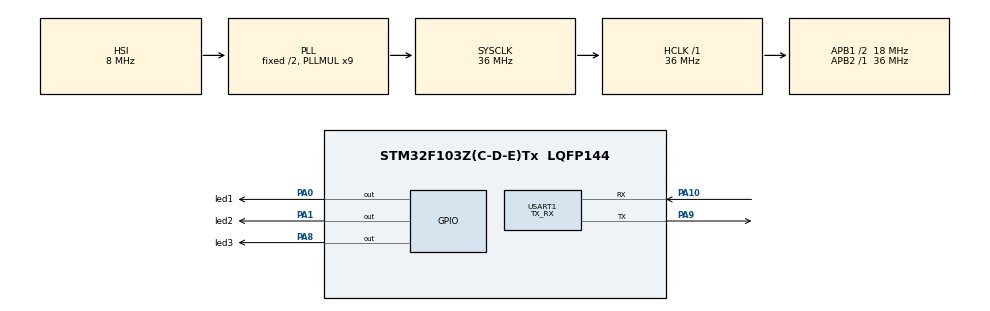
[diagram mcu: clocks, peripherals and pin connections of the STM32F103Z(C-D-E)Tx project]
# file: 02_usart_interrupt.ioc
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Mcu.Family=STM32F1
Mcu.Name=STM32F103Z(C-D-E)Tx
Mcu.Package=LQFP144
NVIC.PriorityGroup=NVIC_PRIORITYGROUP_4
NVIC.USART1_IRQn=true\:0\:0\:false\:false\:true\:true\:true\:true
OSC_IN.Mode=HSE-External-Oscillator
OSC_IN.Signal=RCC_OSC_IN
OSC_OUT.Mode=HSE-External-Oscillator
OSC_OUT.Signal=RCC_OSC_OUT
PA0-WKUP.GPIO_Label=led1
PA0-WKUP.GPIO_ModeDefaultOutputPP=GPIO_MODE_OUTPUT_OD
PA0-WKUP.GPIO_PuPd=GPIO_NOPULL
PA0-WKUP.Signal=GPIO_Output
PA1.GPIO_Label=led2
PA1.GPIO_ModeDefaultOutputPP=GPIO_MODE_OUTPUT_OD
PA1.GPIO_PuPd=GPIO_NOPULL
PA1.Signal=GPIO_Output
PA10.Mode=Asynchronous
PA10.Signal=USART1_RX
PA13.Mode=Trace_Synchro_1bit_JTAG
PA13.Signal=SYS_JTMS-SWDIO
PA14.Mode=Trace_Synchro_1bit_JTAG
PA14.Signal=SYS_JTCK-SWCLK
PA15.Mode=Trace_Synchro_1bit_JTAG
PA15.Signal=SYS_JTDI
PA8.GPIO_Label=led3
PA8.GPIO_ModeDefaultOutputPP=GPIO_MODE_OUTPUT_OD
PA8.GPIO_PuPd=GPIO_NOPULL
PA8.Signal=GPIO_Output
PA9.Mode=Asynchronous
PA9.Signal=USART1_TX
PB3.Mode=Trace_Synchro_1bit_JTAG
PB3.Signal=SYS_JTDO-TRACESWO
PC14-OSC32_IN.Mode=LSE-External-Oscillator
PC14-OSC32_IN.Signal=RCC_OSC32_IN
PC15-OSC32_OUT.Mode=LSE-External-Oscillator
PC15-OSC32_OUT.Signal=RCC_OSC32_OUT
PE2.Mode=Trace_Synchro_1bit_JTAG
PE2.Signal=SYS_TRACECLK
PE3.Mode=Trace_Synchro_1bit_JTAG
PE3.Signal=SYS_TRACED0
ProjectManager.HeapSize=0x200
ProjectManager.StackSize=0x400
ProjectManager.TargetToolchain=CMake
RCC.AHBFreq_Value=36000000
RCC.APB1CLKDivider=RCC_HCLK_DIV2
RCC.APB1Freq_Value=18000000
RCC.APB1TimFreq_Value=36000000
RCC.APB2Freq_Value=36000000
RCC.APB2TimFreq_Value=36000000
RCC.HCLKFreq_Value=36000000
RCC.PLLMUL=RCC_PLL_MUL9
RCC.SYSCLKFreq_VALUE=36000000
RCC.SYSCLKSource=RCC_SYSCLKSOURCE_PLLCLK
RCC.USBFreq_Value=36000000
USART1.Mode=MODE_TX_RX
USART1.VirtualMode=VM_ASYNC
USART1.WordLength=WORDLENGTH_8B
board=custom

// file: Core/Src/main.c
/* USER CODE BEGIN Header */
/**
  ******************************************************************************
  * @file           : main.c
  * @brief          : Main program body
  ******************************************************************************
  * @attention
  *
  * Copyright (c) 2026 STMicroelectronics.
  * All rights reserved.
  *
  * This software is licensed under terms that can be found in the LICENSE file
  * in the root directory of this software component.
  * If no LICENSE file comes with this software, it is provided AS-IS.
  *
  ******************************************************************************
  */
/* USER CODE END Header */
#include "main.h"

#include <stdio.h>

#include "usart.h"
#include "gpio.h"

/* USER CODE BEGIN Includes */
#include <string.h>
#include "led.h"
/* USER CODE END Includes */

/* USER CODE BEGIN PV */
/* 串口协议层共享状态：由 USART 硬件 IDLE 中断回调写入，主循环读取处理 */
uint8_t g_rx_buf[RX_BUF_SIZE]; /* 接收缓冲 */
volatile uint8_t g_frame_ready = 0; /* 一帧就绪标志 */
volatile uint16_t g_frame_size = 0; /* 本帧字节数 */
/* USER CODE END PV */

void SystemClock_Config(void);

int main(void)
{

  /* MCU Configuration--------------------------------------------------------*/

  /* Reset of all peripherals, Initializes the Flash interface and the Systick. */
  HAL_Init();

  /* Configure the system clock */
  SystemClock_Config();

  /* Initialize all configured peripherals */
  MX_GPIO_Init();
  MX_USART1_UART_Init();
  /* USER CODE BEGIN 2 */

  /* LED1/2/3 各亮一次（注释原本写 led1 2 3，但代码全是 led1） */
  HAL_GPIO_WritePin(led1_GPIO_Port, led1_Pin, GPIO_PIN_SET);
  HAL_GPIO_WritePin(led2_GPIO_Port, led2_Pin, GPIO_PIN_SET);
  HAL_GPIO_WritePin(led3_GPIO_Port, led3_Pin, GPIO_PIN_SET);
  HAL_Delay(500);
  HAL_GPIO_WritePin(led1_GPIO_Port, led1_Pin, GPIO_PIN_RESET);
  HAL_GPIO_WritePin(led2_GPIO_Port, led2_Pin, GPIO_PIN_RESET);
  HAL_GPIO_WritePin(led3_GPIO_Port, led3_Pin, GPIO_PIN_RESET);
  HAL_Delay(500);
  HAL_GPIO_WritePin(led1_GPIO_Port, led1_Pin, GPIO_PIN_SET);
  HAL_GPIO_WritePin(led2_GPIO_Port, led2_Pin, GPIO_PIN_SET);
  HAL_GPIO_WritePin(led3_GPIO_Port, led3_Pin, GPIO_PIN_SET);

  /* 阻塞发送 hello\r\n；不要用 Transmit_IT 和 printf 混用，会打架 */
  // HAL_UART_Transmit(&huart1, (uint8_t*)"init", strlen("init"), 1000);

  /* printf 通过 fputc 走串口，fputc 必须阻塞发送 */
  printf("please! send cmd\r\n");
  printf("\t - led1-on\r\n");
  printf("\t - led1-off\r\n");
  printf("\t - led2-on\r\n");
  printf("\t - led2-off\r\n");
  printf("\t - led-all-on\r\n");
  printf("\t - led-all-off\r\n");

  /* 启动第一次空闲中断接收。
   * 没有这一行，USART 永远不会开始监听，HAL_UARTEx_RxEventCallback 永远不会被调用。
   * 后续每一帧接收完成后，由 stm32f1xx_it.c 的回调里再调一次 ReceiveToIdle_IT 重启。 */
  HAL_UARTEx_ReceiveToIdle_IT(&huart1, g_rx_buf, RX_BUF_SIZE);

  /* USER CODE END 2 */

  /* Infinite loop */
  while (1)
  {

    // 检查接受到判断位
    if (g_frame_ready)
    {
      // 加字符串结束符（g_rx_buf 是接收缓冲，最后一字节原是旧数据）
      g_rx_buf[g_frame_size] = '\0';

      /* 去掉帧尾的 \r / \n，否则 strcmp 匹配不到命令表里的字符串。
       * PC 串口助手默认发 \r\n、某些工具只发 \n，这里两种都兼容。 */
      while (g_frame_size > 0 &&
             (g_rx_buf[g_frame_size - 1] == '\r' ||
              g_rx_buf[g_frame_size - 1] == '\n'))
      {
        g_rx_buf[--g_frame_size] = '\0';
      }

      // 回显收到的原始数据（调试用，生产可以删）
      printf("ack:%s\r\n", (char*)g_rx_buf);

      /* 业务逻辑全部交给 ledCtrl。
       * 返回 0 = 识别并执行成功；-1 = 未知命令。 */
      int rc = ledCtrl((const char *)g_rx_buf);
      printf(rc == 0 ? "OK\r\n" : "ERR: unknown cmd\r\n");

      // 处理完成, 复位
      g_frame_ready = 0;
    }

    /* 节奏控制：没消息时短暂 sleep 释放 CPU；
     * 有消息时上面的 if 会马上处理，不会被 sleep 阻塞。 */
    HAL_Delay(10);

  }
}

void SystemClock_Config(void)
{
  RCC_OscInitTypeDef RCC_OscInitStruct = {0};
  RCC_ClkInitTypeDef RCC_ClkInitStruct = {0};

  /** Initializes the RCC Oscillators according to the specified parameters
  * in the RCC_OscInitTypeDef structure.
  */
  RCC_OscInitStruct.OscillatorType = RCC_OSCILLATORTYPE_HSI;
  RCC_OscInitStruct.HSIState = RCC_HSI_ON;
  RCC_OscInitStruct.HSICalibrationValue = RCC_HSICALIBRATION_DEFAULT;
  RCC_OscInitStruct.PLL.PLLState = RCC_PLL_ON;
  RCC_OscInitStruct.PLL.PLLSource = RCC_PLLSOURCE_HSI_DIV2;
  RCC_OscInitStruct.PLL.PLLMUL = RCC_PLL_MUL9;
  if (HAL_RCC_OscConfig(&RCC_OscInitStruct) != HAL_OK)
  {
    Error_Handler();
  }

  /** Initializes the CPU, AHB and APB buses clocks
  */
  RCC_ClkInitStruct.ClockType = RCC_CLOCKTYPE_HCLK | RCC_CLOCKTYPE_SYSCLK
    | RCC_CLOCKTYPE_PCLK1 | RCC_CLOCKTYPE_PCLK2;
  RCC_ClkInitStruct.SYSCLKSource = RCC_SYSCLKSOURCE_PLLCLK;
  RCC_ClkInitStruct.AHBCLKDivider = RCC_SYSCLK_DIV1;
  RCC_ClkInitStruct.APB1CLKDivider = RCC_HCLK_DIV2;
  RCC_ClkInitStruct.APB2CLKDivider = RCC_HCLK_DIV1;

  if (HAL_RCC_ClockConfig(&RCC_ClkInitStruct, FLASH_LATENCY_1) != HAL_OK)
  {
    Error_Handler();
  }
}

/* USER CODE BEGIN 4 */

/* printf / _write 最终调用的是 __io_putchar（看 syscalls.c）。
 * 必须是阻塞发送（HAL_UART_Transmit），否则字符还没出寄存器 printf 就返回了，
 * 多次调用 HAL_UART_Transmit_IT 互相覆盖，输出残缺。
 *
 * 如果用了 newlib（默认），再实现一个 fputc 兼容 AC5 习惯写法；Picolibc 用 __io_putchar。
 */
int __io_putchar(int ch)
{
  HAL_UART_Transmit(&huart1, (uint8_t*)&ch, 1, 100);
  return ch;
}

/* USER CODE END 4 */

void Error_Handler(void)
{
  /* USER CODE BEGIN Error_Handler_Debug */
  /* 不要 __disable_irq() + while(1)！
   * 关中断 + 死循环会让 ST-LINK 无法 halt，导致下次烧录失败。
   * 这里直接软复位，由启动代码重新初始化。 */
  NVIC_SystemReset();
  /* USER CODE END Error_Handler_Debug */
}
